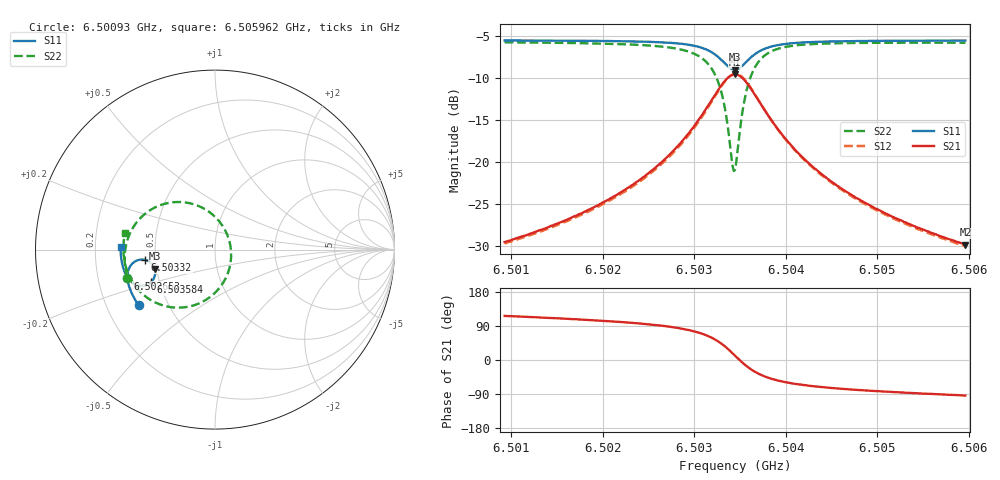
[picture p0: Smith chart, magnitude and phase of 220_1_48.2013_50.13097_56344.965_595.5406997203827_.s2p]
#  HZ  S  RI  R  50.00
! Rohde & Schwarz Vector Network Analyzer
! Rohde-Schwarz,ZNB20-2Port,1311601062101988,3.16
! Created: UTC 3/20/2024, 11:45:54 AM
! freq[Hz]  re:S11  im:S11  re:S21  im:S21  re:S12  im:S12  re:S22  im:S22
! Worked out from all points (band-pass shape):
!   401 points, 6.50093 GHz to 6.505962 GHz, reference 50 ohm
!   highest |S21| = -9.60 dB at 6.503446 GHz (marker M1); lowest = -29.8 dB at 6.505962 GHz (marker M2)
!   |S21| within 3 dB of the highest: 6.503194 GHz to 6.503697 GHz (503.1 kHz wide, 0.00774 % of centre)
!   lowest |S11| = -9.1 dB at 6.503446 GHz (marker M3), VSWR 2.09, Z = 24.4 - j5.94 ohm
!   |S11| at or under -10 dB: nowhere
!   |S22| runs from -21.1 to -5.8 dB; largest |S21 - S12| = 0.012
!   S11 on the Smith chart (normalised r, x): 6.50093 GHz: 0.34, -0.29; 6.502653 GHz: 0.33, -0.14; 6.50332 GHz: 0.44, -0.06; 6.503584 GHz: 0.45, -0.19; 6.505962 GHz: 0.31, +0.01
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6.5009298e9  -0.4254 -0.3103  -0.0149 0.0301  -0.0132 0.0302  -0.4894 -0.156
6.5017726e9  -0.4617 -0.2482  -0.0142 0.0476  -0.0119 0.0474  -0.5029 -0.0665
6.5022507e9  -0.4785 -0.2057  -0.0112 0.068  -0.00813 0.0668  -0.4996 0.00145
6.5026155e9  -0.4871 -0.1655  -0.00216 0.0968  0.00131 0.0944  -0.4805 0.0748
6.5026532e9  -0.4874 -0.1605  -0.000674 0.1008  0.00316 0.0984  -0.4765 0.0843
6.50293e9  -0.4834 -0.1175  0.0263 0.1436  0.0301 0.139  -0.4207 0.1704
6.5031187e9  -0.462 -0.0793  0.0808 0.1858  0.0833 0.1795  -0.3165 0.243
6.5032319e9  -0.4292 -0.0587  0.1503 0.2032  0.1512 0.1969  -0.1911 0.265
6.5033199e9  -0.3885 -0.0573  0.2304 0.1867  0.2305 0.1814  -0.053 0.2235
6.5033577e9  -0.3691 -0.065  0.2668 0.1631  0.2677 0.1585  0.00719 0.176
6.5034206e9  -0.3425 -0.092  0.3145 0.0985  0.3171 0.0935  0.079 0.0514
6.5034457e9  -0.336 -0.1067  0.3246 0.066  0.3278 0.0601  0.0894 -0.00927
6.5034709e9  -0.3333 -0.1225  0.328 0.0321  0.3315 0.025  0.0871 -0.0713
6.5035338e9  -0.3405 -0.16  0.3093 -0.0462  0.3112 -0.0563  0.0301 -0.207
6.5035841e9  -0.3572 -0.182  0.2755 -0.0918  0.2749 -0.103  -0.047 -0.2777
6.5036848e9  -0.397 -0.2007  0.1992 -0.1344  0.194 -0.1442  -0.2022 -0.3233
6.5038483e9  -0.4453 -0.1929  0.1131 -0.1342  0.1061 -0.1393  -0.3587 -0.2806
6.5040244e9  -0.474 -0.1718  0.0663 -0.1138  0.0599 -0.1164  -0.4348 -0.2148
6.5042886e9  -0.4961 -0.1402  0.0339 -0.088  0.0292 -0.0887  -0.4818 -0.1381
6.5046534e9  -0.5114 -0.1022  0.0154 -0.0654  0.0119 -0.065  -0.504 -0.0652
6.5051314e9  -0.5211 -0.0578  0.00511 -0.0481  0.0027 -0.0474  -0.5103 0.00264
6.5059617e9  -0.5259 0.0124  -0.00212 -0.0323  -0.00341 -0.0315  -0.5023 0.0905
